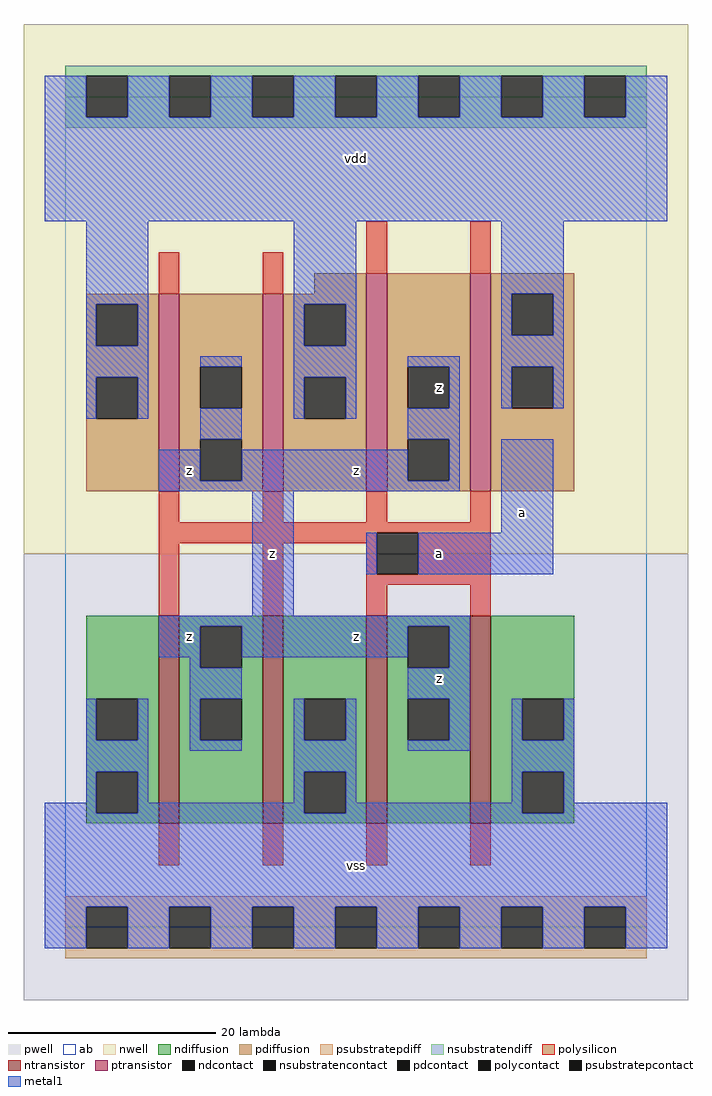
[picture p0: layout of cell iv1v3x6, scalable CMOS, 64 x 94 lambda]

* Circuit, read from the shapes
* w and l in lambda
.subckt iv1v3x6 a vdd vss z
M1 z a vss vss nfet w=20 l=2 m=4
M2 z a vdd vdd pfet w=19 l=2 m=2
M3 z a vdd vdd pfet w=21 l=2 m=2
.ends

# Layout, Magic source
magic
tech scmos
<< ab >>
rect 0 0 56 80
<< pwell >>
rect -4 -7 60 36
<< nwell >>
rect -4 36 60 87
<< polysilicon >>
rect 9 61 11 65
rect 19 61 21 65
rect 29 63 31 68
rect 39 63 41 68
rect 9 39 11 42
rect 19 39 21 42
rect 29 39 31 42
rect 39 39 41 42
rect 9 38 41 39
rect 9 37 30 38
rect 9 30 11 37
rect 19 30 21 37
rect 29 34 30 37
rect 34 34 41 38
rect 29 33 41 34
rect 29 30 31 33
rect 39 30 41 33
rect 9 6 11 10
rect 19 6 21 10
rect 29 6 31 10
rect 39 6 41 10
<< ndiffusion >>
rect 2 22 9 30
rect 2 18 3 22
rect 7 18 9 22
rect 2 15 9 18
rect 2 11 3 15
rect 7 11 9 15
rect 2 10 9 11
rect 11 29 19 30
rect 11 25 13 29
rect 17 25 19 29
rect 11 22 19 25
rect 11 18 13 22
rect 17 18 19 22
rect 11 10 19 18
rect 21 22 29 30
rect 21 18 23 22
rect 27 18 29 22
rect 21 15 29 18
rect 21 11 23 15
rect 27 11 29 15
rect 21 10 29 11
rect 31 29 39 30
rect 31 25 33 29
rect 37 25 39 29
rect 31 22 39 25
rect 31 18 33 22
rect 37 18 39 22
rect 31 10 39 18
rect 41 22 49 30
rect 41 18 44 22
rect 48 18 49 22
rect 41 15 49 18
rect 41 11 44 15
rect 48 11 49 15
rect 41 10 49 11
<< pdiffusion >>
rect 24 61 29 63
rect 2 60 9 61
rect 2 56 3 60
rect 7 56 9 60
rect 2 53 9 56
rect 2 49 3 53
rect 7 49 9 53
rect 2 42 9 49
rect 11 54 19 61
rect 11 50 13 54
rect 17 50 19 54
rect 11 47 19 50
rect 11 43 13 47
rect 17 43 19 47
rect 11 42 19 43
rect 21 60 29 61
rect 21 56 23 60
rect 27 56 29 60
rect 21 53 29 56
rect 21 49 23 53
rect 27 49 29 53
rect 21 42 29 49
rect 31 54 39 63
rect 31 50 33 54
rect 37 50 39 54
rect 31 47 39 50
rect 31 43 33 47
rect 37 43 39 47
rect 31 42 39 43
rect 41 61 49 63
rect 41 57 43 61
rect 47 57 49 61
rect 41 54 49 57
rect 41 50 43 54
rect 47 50 49 54
rect 41 42 49 50
<< metal1 >>
rect -2 78 2 82
rect 6 78 10 82
rect 14 78 18 82
rect 22 78 26 82
rect 30 78 34 82
rect 38 78 42 82
rect 46 78 50 82
rect 54 78 58 82
rect -2 68 58 78
rect 2 60 8 68
rect 2 56 3 60
rect 7 56 8 60
rect 2 53 8 56
rect 22 60 28 68
rect 22 56 23 60
rect 27 56 28 60
rect 2 49 3 53
rect 7 49 8 53
rect 13 54 17 55
rect 13 47 17 50
rect 22 53 28 56
rect 42 61 48 68
rect 42 57 43 61
rect 47 57 48 61
rect 22 49 23 53
rect 27 49 28 53
rect 33 54 38 55
rect 37 50 38 54
rect 42 54 48 57
rect 42 50 43 54
rect 47 50 48 54
rect 9 43 13 46
rect 33 47 38 50
rect 17 43 33 46
rect 37 43 38 47
rect 9 42 38 43
rect 18 30 22 42
rect 42 38 47 47
rect 29 34 30 38
rect 34 34 47 38
rect 9 29 39 30
rect 9 26 13 29
rect 12 25 13 26
rect 17 26 33 29
rect 12 22 17 25
rect 37 25 39 29
rect 33 22 39 25
rect 2 18 3 22
rect 7 18 8 22
rect 2 15 8 18
rect 12 18 13 22
rect 12 17 17 18
rect 22 18 23 22
rect 27 18 28 22
rect 2 12 3 15
rect -2 11 3 12
rect 7 12 8 15
rect 22 15 28 18
rect 37 18 39 22
rect 33 17 39 18
rect 43 18 44 22
rect 48 18 49 22
rect 22 12 23 15
rect 7 11 23 12
rect 27 12 28 15
rect 43 15 49 18
rect 43 12 44 15
rect 27 11 44 12
rect 48 12 49 15
rect 48 11 58 12
rect -2 2 58 11
rect -2 -2 2 2
rect 6 -2 10 2
rect 14 -2 18 2
rect 22 -2 26 2
rect 30 -2 34 2
rect 38 -2 42 2
rect 46 -2 50 2
rect 54 -2 58 2
<< ntransistor >>
rect 9 10 11 30
rect 19 10 21 30
rect 29 10 31 30
rect 39 10 41 30
<< ptransistor >>
rect 9 42 11 61
rect 19 42 21 61
rect 29 42 31 63
rect 39 42 41 63
<< polycontact >>
rect 30 34 34 38
<< ndcontact >>
rect 3 18 7 22
rect 3 11 7 15
rect 13 25 17 29
rect 13 18 17 22
rect 23 18 27 22
rect 23 11 27 15
rect 33 25 37 29
rect 33 18 37 22
rect 44 18 48 22
rect 44 11 48 15
<< pdcontact >>
rect 3 56 7 60
rect 3 49 7 53
rect 13 50 17 54
rect 13 43 17 47
rect 23 56 27 60
rect 23 49 27 53
rect 33 50 37 54
rect 33 43 37 47
rect 43 57 47 61
rect 43 50 47 54
<< psubstratepcontact >>
rect 2 -2 6 2
rect 10 -2 14 2
rect 18 -2 22 2
rect 26 -2 30 2
rect 34 -2 38 2
rect 42 -2 46 2
rect 50 -2 54 2
<< nsubstratencontact >>
rect 2 78 6 82
rect 10 78 14 82
rect 18 78 22 82
rect 26 78 30 82
rect 34 78 38 82
rect 42 78 46 82
rect 50 78 54 82
<< psubstratepdiff >>
rect 0 2 56 3
rect 0 -2 2 2
rect 6 -2 10 2
rect 14 -2 18 2
rect 22 -2 26 2
rect 30 -2 34 2
rect 38 -2 42 2
rect 46 -2 50 2
rect 54 -2 56 2
rect 0 -3 56 -2
<< nsubstratendiff >>
rect 0 82 56 83
rect 0 78 2 82
rect 6 78 10 82
rect 14 78 18 82
rect 22 78 26 82
rect 30 78 34 82
rect 38 78 42 82
rect 46 78 50 82
rect 54 78 56 82
rect 0 77 56 78
<< labels >>
rlabel metal1 12 28 12 28 6 z
rlabel metal1 20 36 20 36 6 z
rlabel metal1 12 44 12 44 6 z
rlabel metal1 28 6 28 6 6 vss
rlabel metal1 28 28 28 28 6 z
rlabel metal1 36 36 36 36 6 a
rlabel metal1 36 24 36 24 6 z
rlabel metal1 28 44 28 44 6 z
rlabel pdcontact 36 52 36 52 6 z
rlabel metal1 28 74 28 74 6 vdd
rlabel metal1 44 40 44 40 6 a
<< end >>
